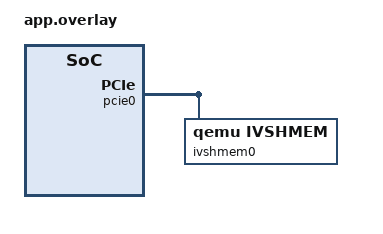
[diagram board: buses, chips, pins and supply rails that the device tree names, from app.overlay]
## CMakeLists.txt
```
# SPDX-License-Identifier: Apache-2.0
# Copyright (c) 2020 Intel Corp.

cmake_minimum_required(VERSION 3.20.0)

find_package(Zephyr REQUIRED HINTS $ENV{ZEPHYR_BASE})
project(qemu_x86_64_ivshmem)

target_sources(app PRIVATE src/ivshmem.c)
```

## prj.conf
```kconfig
CONFIG_STACK_CANARIES=n
CONFIG_INIT_STACKS=y
CONFIG_TEST_USERSPACE=y
CONFIG_ZTEST=y
CONFIG_TEST_USERSPACE=y

CONFIG_PCIE=y

CONFIG_VIRTUALIZATION=y
CONFIG_IVSHMEM=y
```

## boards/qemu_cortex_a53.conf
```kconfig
CONFIG_PCIE_CONTROLLER=y
CONFIG_PCIE_ECAM=y

# QEMU PCI requires at least 256M of virtual space
CONFIG_KERNEL_VM_SIZE=0x80000000

# QEMU PCI requires physical addresses with more than 32 bits
CONFIG_ARM64_VA_BITS_40=y
CONFIG_ARM64_PA_BITS_40=y
```

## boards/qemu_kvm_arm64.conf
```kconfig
CONFIG_PCIE_CONTROLLER=y
CONFIG_PCIE_ECAM=y

# Hungry PCI requires at least 256M of virtual space
CONFIG_KERNEL_VM_SIZE=0x80000000

# Hungry PCI requires phys addresses with more than 32 bits
CONFIG_ARM64_VA_BITS_40=y
CONFIG_ARM64_PA_BITS_40=y
```

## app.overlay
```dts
/*
 * Copyright (c) 2021 Intel Corporation
 *
 * SPDX-License-Identifier: Apache-2.0
 */
#include <zephyr/dt-bindings/pcie/pcie.h>

/ {
	pcie0 {
		ivshmem0: ivshmem0 {
			compatible = "qemu,ivshmem";

			vendor-id = <0x1af4>;
			device-id = <0x1110>;

			status = "okay";
		};
	};
};
```

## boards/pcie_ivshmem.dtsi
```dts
/*
 * Copyright (c) 2022 Huawei France Technologies SASU
 *
 * SPDX-License-Identifier: Apache-2.0
 */
#include <zephyr/dt-bindings/pcie/pcie.h>

/ {
	ivhsmem {
		ivshmem0: ivshmem {
			compatible = "qemu,ivshmem";

			vendor-id = <0x1af4>;
			device-id = <0x1110>;
			status = "okay";
		};
	};
};
```

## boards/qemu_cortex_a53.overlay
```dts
/*
 * Copyright (c) 2021 Intel Corporation
 * Copyright (c) 2022 Huawei France Technologies SASU
 *
 * SPDX-License-Identifier: Apache-2.0
 */
#include "pcie_ivshmem.dtsi"
```

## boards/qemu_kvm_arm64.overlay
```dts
/*
 * Copyright (c) 2021 Intel Corporation
 * Copyright (c) 2022 Huawei France Technologies SASU
 *
 * SPDX-License-Identifier: Apache-2.0 and UNLICENSED
 */
#include "pcie_ivshmem.dtsi"
```

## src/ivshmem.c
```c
/*
 * Copyright (c) 2020 Intel Corporation
 *
 * SPDX-License-Identifier: Apache-2.0
 */

#include <zephyr/kernel.h>
#include <zephyr/ztest.h>

#include <zephyr/drivers/virtualization/ivshmem.h>

ZTEST(ivshmem, test_ivshmem_plain)
{
	const struct device *ivshmem;
	uintptr_t mem;
	size_t size;
	uint32_t id;
	uint32_t *area_to_rw;
	uint16_t vectors;
	int ret;

	ivshmem = DEVICE_DT_GET_ONE(qemu_ivshmem);
	zassert_true(device_is_ready(ivshmem), "ivshmem device is not ready");

	size = ivshmem_get_mem(ivshmem, &mem);
	zassert_not_equal(size, 0, "Size cannot not be 0");
	zassert_not_null((void *)mem, "Shared memory cannot be null");

	id = ivshmem_get_id(ivshmem);
	zassert_equal(id, 0, "ID should be 0 on ivshmem-plain");

	area_to_rw = (uint32_t *)mem;

	*area_to_rw = 8108; /* some data */
	zassert_equal(*area_to_rw, 8108,
		      "Could not r/w to the shared memory");

	/* Quickly verifying that non-plain features return proper code */
	vectors = ivshmem_get_vectors(ivshmem);
	zassert_equal(vectors, 0, "ivshmem-plain cannot have vectors");

	ret = z_impl_ivshmem_int_peer(ivshmem, 0, 0);
	zassert_equal(ret, -ENOSYS,
		      "interrupting peers should not be supported");

	ret = ivshmem_register_handler(ivshmem, NULL, 0);
	zassert_equal(ret, -ENOSYS,
		      "registering handlers should not be supported");
}

static void test_is_usermode(void *p1, void *p2, void *p3)
{
	ARG_UNUSED(p1);
	ARG_UNUSED(p2);
	ARG_UNUSED(p3);

	zassert_true(k_is_user_context(), "thread left in kernel mode");
}

ZTEST(ivshmem, test_quit_kernel)
{
#ifdef CONFIG_USERSPACE
	k_thread_user_mode_enter(test_is_usermode,
				 NULL, NULL, NULL);
#else
	ztest_test_skip();
#endif
}

ZTEST_SUITE(ivshmem, NULL, NULL, NULL, NULL, NULL);
```
